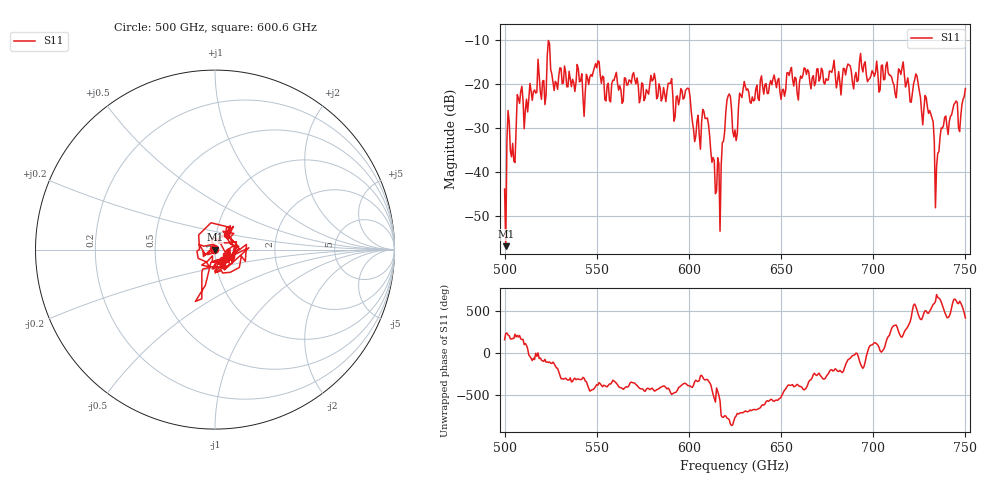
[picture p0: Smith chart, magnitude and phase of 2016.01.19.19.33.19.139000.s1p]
!Created with skrf (http://scikit-rf.org).
# GHz S RI R 50.0
!freq ReS11 ImS11
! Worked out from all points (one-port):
!   401 points, 500 GHz to 750 GHz, reference 50 ohm
!   lowest |S11| = -56.9 dB at 500.6 GHz (marker M1), VSWR 1.00, Z = 49.9 - j0.116 ohm
!   |S11| at or under -10 dB: start of sweep to end of sweep
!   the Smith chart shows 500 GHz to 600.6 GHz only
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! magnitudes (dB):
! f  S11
! 500 GHz  -43.9
! 500.6 GHz  -56.9
! 502.5 GHz  -28.6
! 505 GHz  -37.6
! 508.1 GHz  -24.5
! 521.2 GHz  -19.3
! 524.4 GHz  -10.9
! 527.5 GHz  -19.5
! 531.2 GHz  -20.0
! 543.8 GHz  -22.0
! 550 GHz  -16.4
! 562.5 GHz  -20.5
! 580.6 GHz  -19.0
! 593.8 GHz  -22.8
! 599.4 GHz  -21.0
! 605 GHz  -27.2
! 608.8 GHz  -27.9
! 615.6 GHz  -36.8
! 621.2 GHz  -22.8
! 625 GHz  -30.5
! 630.6 GHz  -20.6
! 656.2 GHz  -19.0
! 687.5 GHz  -16.0
! 718.8 GHz  -18.7
! 729.4 GHz  -25.3
! 734.4 GHz  -38.8
! 738.1 GHz  -29.5
! 750 GHz  -21.1
